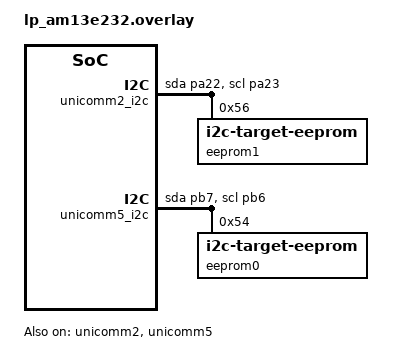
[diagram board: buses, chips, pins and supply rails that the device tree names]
/*
 * Copyright (c) 2026 Texas Instruments Incorporated
 *
 * SPDX-License-Identifier: Apache-2.0
 */

/*
 * I2C loopback wiring for LP-AM13E232:
 *
 * Wire PA23 <-> PB6 (SCL) and PA22 <-> PB7 (SDA).
 * Internal pull-ups are enabled on all four pins.
 */

&uc2_tx_sda_pa22 {
	input-enable;
	drive-open-drain;
	bias-pull-up;
};

&uc2_rx_scl_pa23 {
	drive-open-drain;
	bias-pull-up;
};

&uc5_tx_sda_pb7 {
	input-enable;
	drive-open-drain;
	bias-pull-up;
};

&uc5_rx_scl_pb6 {
	drive-open-drain;
	bias-pull-up;
};

&unicomm2 {
	status = "okay";
};

&unicomm2_i2c {
	pinctrl-0 = <&uc2_tx_sda_pa22 &uc2_rx_scl_pa23>;
	pinctrl-names = "default";
	unicomm-advanced-i2c;
	status = "okay";

	eeprom1: eeprom@56 {
		compatible = "zephyr,i2c-target-eeprom";
		reg = <0x56>;
		address-width = <8>;
		size = <256>;
	};
};

&unicomm5 {
	status = "okay";
};

&unicomm5_i2c {
	pinctrl-0 = <&uc5_tx_sda_pb7 &uc5_rx_scl_pb6>;
	pinctrl-names = "default";
	unicomm-advanced-i2c;
	status = "okay";

	eeprom0: eeprom@54 {
		compatible = "zephyr,i2c-target-eeprom";
		reg = <0x54>;
		address-width = <8>;
		size = <256>;
	};
};
